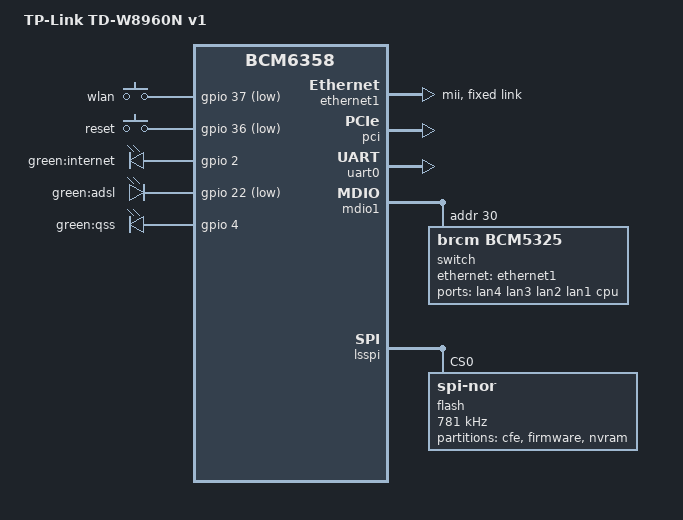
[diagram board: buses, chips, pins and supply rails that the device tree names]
// SPDX-License-Identifier: GPL-2.0-or-later

#include "bcm6358.dtsi"

/ {
	model = "TP-Link TD-W8960N v1";
	compatible = "tp-link,td-w8960-v1", "brcm,bcm6358";

	aliases {
		led-boot = &led_indicator;
		led-failsafe = &led_indicator;
		led-running = &led_indicator;
		led-upgrade = &led_indicator;
	};

	keys {
		compatible = "gpio-keys-polled";
		poll-interval = <100>;

		wlan {
			label = "wlan";
			gpios = <&gpio 37 GPIO_ACTIVE_LOW>;
			linux,code = <KEY_WLAN>;
			debounce-interval = <60>;
		};

		reset {
			label = "reset";
			gpios = <&gpio 36 GPIO_ACTIVE_LOW>;
			linux,code = <KEY_CONFIG>;
			debounce-interval = <60>;
		};
	};

	leds {
		compatible = "gpio-leds";

		led-9 {
			label = "green:internet";
			gpios = <&gpio 2 GPIO_ACTIVE_HIGH>;
		};

		led_indicator: led-2 {
			label = "green:adsl";
			gpios = <&gpio 22 GPIO_ACTIVE_LOW>;
		};

		led-8 {
			label = "green:qss";
			gpios = <&gpio 4 GPIO_ACTIVE_HIGH>;
		};
	};
};

&ethernet1 {
	status = "okay";

	nvmem-cells = <&macaddr_cfe_6a0 0>;
	nvmem-cell-names = "mac-address";

	phy-mode = "mii";

	fixed-link {
		speed = <100>;
		full-duplex;
	};
};

&iudma {
	status = "okay";
};

&pci {
	status = "okay";
};

&uart0 {
	status = "okay";
};

&mdio1 {
	switch@1e {
		compatible = "brcm,bcm5325";
		reg = <30>;

		ports {
			#address-cells = <1>;
			#size-cells = <0>;

			port@0 {
				reg = <0>;
				label = "lan4";

				phy-mode = "mii";
			};

			port@1 {
				reg = <1>;
				label = "lan3";

				phy-mode = "mii";
			};

			port@2 {
				reg = <2>;
				label = "lan2";

				phy-mode = "mii";
			};

			port@3 {
				reg = <3>;
				label = "lan1";

				phy-mode = "mii";
			};

			port@5 {
				reg = <5>;
				label = "cpu";

				phy-mode = "internal";
				ethernet = <&ethernet1>;

				fixed-link {
					speed = <100>;
					full-duplex;
				};
			};
		};
	};
};

&lsspi {
	status = "okay";

	flash@0 {
		compatible = "jedec,spi-nor";
		spi-max-frequency = <781000>;
		reg = <0>;

		partitions {
			compatible = "fixed-partitions";
			#address-cells = <1>;
			#size-cells = <1>;

			partition@0 {
				label = "cfe";
				reg = <0 0x10000>;
				read-only;

				nvmem-layout {
					compatible = "fixed-layout";
					#address-cells = <1>;
					#size-cells = <1>;

					macaddr_cfe_6a0: macaddr@6a0 {
						compatible = "mac-base";
						reg = <0x6a0 0x6>;
						#nvmem-cell-cells = <1>;
					};
				};
			};

			partition@10000 {
				compatible = "brcm,bcm963xx-imagetag";
				reg = <0x010000 0xFE0000>; // Aligned to 64kB boundary
				label = "firmware";
			};

			partition@FFA000 {
				reg = <0xFFA000 0x006000>;
				label = "nvram";
				read-only;
			};
		};
	};
};
